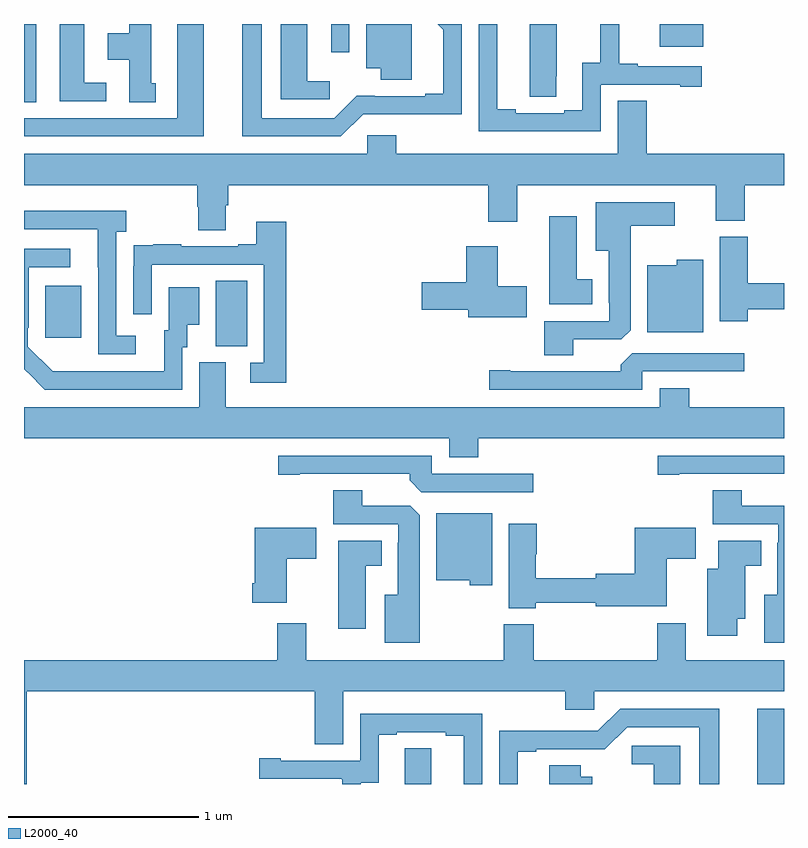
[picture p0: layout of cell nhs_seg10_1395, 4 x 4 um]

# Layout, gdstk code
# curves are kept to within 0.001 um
import gdstk
lib = gdstk.Library(unit=1e-6, precision=1e-09)
def R(c, l, rs):  # rectangles x0, y0, x1, y1
    for r in rs: c.add(gdstk.rectangle(r[:2], r[2:], *l))
def P(c, l, *ps):  # polygons
    for p in ps: c.add(gdstk.Polygon(p, *l))
L2000_40 = (2000, 40)

nhs_seg10_1395 = lib.new_cell('nhs_seg10_1395')
R(nhs_seg10_1395, L2000_40, [(186.86,1294.5,187,1294.896), (184.01,1296.805,184.174,1297.148), (183.113,1296.849,183.301,1297.123), (183,1298.089,183.064,1298.5), (184.617,1298.352,184.713,1298.5), (186.347,1298.381,186.574,1298.5)])
P(nhs_seg10_1395, L2000_40, [(186.036,1298.181),(186.455,1298.181),(186.455,1298.169),(186.568,1298.169),(186.568,1298.277),(186.229,1298.277),(186.229,1298.29),(186.134,1298.29),(186.134,1298.5),(186.034,1298.5),(186.034,1298.297),(185.939,1298.297),(185.939,1298.046),(185.843,1298.046),(185.843,1298.031),(185.587,1298.031),(185.587,1298.051),(185.491,1298.051),(185.491,1298.5),(185.394,1298.5),(185.394,1297.935),(186.036,1297.935)],
  [(183.433,1298.19),(183.316,1298.19),(183.316,1298.5),(183.188,1298.5),(183.188,1298.094),(183.433,1298.094)],
  [(184.609,1298.2),(184.492,1298.2),(184.492,1298.5),(184.352,1298.5),(184.352,1298.103),(184.609,1298.103)],
  [(185.041,1298.5),(184.802,1298.5),(184.802,1298.267),(184.877,1298.267),(184.877,1298.206),(185.041,1298.206)],
  [(185.802,1298.224),(185.803,1298.224),(185.803,1298.5),(185.663,1298.5),(185.663,1298.116),(185.802,1298.116)],
  [(183.946,1298.5),(183.806,1298.5),(183.806,1298.004),(183,1298.004),(183,1297.908),(183.946,1297.908)],
  [(183.694,1298.187),(183.67,1298.187),(183.67,1298.5),(183.554,1298.5),(183.554,1298.452),(183.44,1298.452),(183.44,1298.312),(183.554,1298.312),(183.554,1298.089),(183.694,1298.089)],
  [(184.785,1298.025),(185.304,1298.024),(185.304,1298.5),(185.177,1298.5),(185.207,1298.47),(185.207,1298.134),(185.111,1298.134),(185.111,1298.121),(184.75,1298.122),(184.632,1298.004),(184.252,1298.004),(184.252,1298.5),(184.148,1298.5),(184.148,1297.908),(184.668,1297.908)],
  [(186.278,1298.096),(186.125,1298.096),(186.125,1297.816),(184.958,1297.816),(184.958,1297.914),(184.806,1297.914),(184.806,1297.816),(183,1297.816),(183,1297.652),(183.911,1297.652),(183.911,1297.539),(183.916,1297.539),(183.916,1297.414),(184.063,1297.414),(184.063,1297.546),(184.076,1297.546),(184.076,1297.652),(185.444,1297.652),(185.444,1297.458),(185.596,1297.458),(185.596,1297.652),(186.641,1297.652),(186.641,1297.465),(186.794,1297.465),(186.794,1297.652),(187,1297.652),(187,1297.816),(186.278,1297.816)],
  [(185.89,1296.84),(186.144,1296.84),(186.193,1296.889),(186.193,1297.439),(186.424,1297.439),(186.424,1297.561),(186.008,1297.561),(186.008,1297.307),(186.077,1297.307),(186.077,1297.033),(186.081,1297.033),(186.081,1296.936),(185.738,1296.936),(185.738,1296.757),(185.89,1296.757)],
  [(183.589,1296.858),(183.486,1296.858),(183.486,1297.406),(183.538,1297.406),(183.538,1297.516),(183,1297.516),(183,1297.419),(183.389,1297.419),(183.389,1297.219),(183.39,1297.219),(183.39,1296.762),(183.589,1296.762)],
  [(185.992,1297.156),(185.908,1297.156),(185.908,1297.489),(185.765,1297.489),(185.765,1297.025),(185.992,1297.025)],
  [(184.379,1297.459),(184.223,1297.459),(184.223,1297.342),(184.127,1297.342),(184.127,1297.329),(183.827,1297.329),(183.827,1297.342),(183.679,1297.342),(183.679,1297.335),(183.577,1297.335),(183.577,1297.226),(183.576,1297.226),(183.576,1296.972),(183.672,1296.972),(183.672,1297.233),(184.263,1297.233),(184.263,1296.717),(184.191,1296.717),(184.191,1296.612),(184.379,1296.612)],
  [(186.809,1297),(187,1297),(187,1297.136),(186.809,1297.136),(186.809,1297.38),(186.662,1297.38),(186.662,1296.936),(186.809,1296.936)],
  [(185.647,1297.119),(185.494,1297.119),(185.494,1297.33),(185.327,1297.33),(185.327,1297.142),(185.094,1297.142),(185.094,1296.995),(185.339,1296.995),(185.339,1296.956),(185.647,1296.956)],
  [(183.834,1296.798),(183.859,1296.798),(183.859,1296.917),(183.922,1296.917),(183.922,1297.114),(183.761,1297.114),(183.761,1296.888),(183.737,1296.888),(183.737,1296.672),(183.15,1296.673),(183.021,1296.801),(183.021,1296.901),(183.024,1296.901),(183.024,1297.221),(183.244,1297.221),(183.244,1297.317),(183,1297.317),(183,1296.684),(183.018,1296.666),(183.019,1296.667),(183.11,1296.576),(183.834,1296.576)],
  [(186.574,1297.258),(186.435,1297.258),(186.435,1297.231),(186.281,1297.231),(186.281,1296.878),(186.574,1296.878)],
  [(186.255,1296.672),(186.79,1296.672),(186.79,1296.768),(186.201,1296.768),(186.14,1296.706),(186.14,1296.672),(185.56,1296.672),(185.56,1296.677),(185.448,1296.677),(185.448,1296.576),(186.255,1296.576)],
  [(185.39,1296.32),(187,1296.32),(187,1296.484),(186.5,1296.484),(186.5,1296.583),(186.347,1296.583),(186.347,1296.484),(184.063,1296.484),(184.063,1296.72),(183.923,1296.72),(183.923,1296.484),(183,1296.484),(183,1296.32),(185.237,1296.32),(185.237,1296.221),(185.39,1296.221)],
  [(186.448,1296.132),(187,1296.132),(187,1296.228),(186.336,1296.228),(186.336,1296.127),(186.448,1296.127)],
  [(185.68,1296.132),(185.145,1296.132),(185.145,1296.228),(184.338,1296.228),(184.338,1296.127),(184.45,1296.127),(184.45,1296.132),(185.03,1296.132),(185.03,1296.098),(185.091,1296.036),(185.68,1296.036)],
  [(187,1295.964),(186.778,1295.964),(186.778,1296.047),(186.626,1296.047),(186.626,1295.868),(186.969,1295.868),(186.969,1295.771),(186.965,1295.771),(186.965,1295.497),(186.896,1295.497),(186.896,1295.243),(187,1295.243)],
  [(185.083,1295.915),(185.034,1295.964),(184.78,1295.964),(184.78,1296.047),(184.628,1296.047),(184.628,1295.868),(184.971,1295.868),(184.971,1295.771),(184.967,1295.771),(184.967,1295.497),(184.898,1295.497),(184.898,1295.243),(185.083,1295.243)],
  [(185.464,1295.926),(185.171,1295.926),(185.171,1295.573),(185.346,1295.573),(185.346,1295.546),(185.464,1295.546)],
  [(185.694,1295.454),(186.008,1295.454),(186.008,1295.435),(186.382,1295.435),(186.382,1295.686),(186.535,1295.686),(186.535,1295.848),(186.215,1295.848),(186.215,1295.606),(186.008,1295.606),(186.008,1295.582),(185.694,1295.582),(185.694,1295.708),(185.699,1295.708),(185.699,1295.869),(185.552,1295.869),(185.552,1295.426),(185.694,1295.426)],
  [(184.384,1295.686),(184.537,1295.686),(184.537,1295.848),(184.214,1295.848),(184.214,1295.557),(184.202,1295.557),(184.202,1295.453),(184.384,1295.453)],
  [(186.754,1295.369),(186.796,1295.369),(186.796,1295.648),(186.88,1295.648),(186.88,1295.779),(186.653,1295.779),(186.653,1295.632),(186.596,1295.632),(186.596,1295.28),(186.754,1295.28)],
  [(184.798,1295.648),(184.882,1295.648),(184.882,1295.779),(184.655,1295.779),(184.655,1295.316),(184.798,1295.316)],
  [(183.014,1294.988),(184.529,1294.988),(184.529,1294.708),(184.681,1294.708),(184.681,1294.988),(185.849,1294.988),(185.849,1294.89),(186,1294.89),(186,1294.988),(187,1294.988),(187,1295.152),(186.484,1295.152),(186.484,1295.347),(186.332,1295.347),(186.332,1295.152),(185.684,1295.152),(185.684,1295.341),(185.524,1295.341),(185.524,1295.152),(184.486,1295.152),(184.486,1295.347),(184.334,1295.347),(184.334,1295.152),(183,1295.152),(183,1294.5),(183.014,1294.5)],
  [(185.599,1294.671),(185.695,1294.671),(185.695,1294.683),(186.056,1294.682),(186.174,1294.8),(186.554,1294.8),(186.554,1294.5),(186.658,1294.5),(186.658,1294.896),(186.138,1294.896),(186.021,1294.779),(185.765,1294.779),(185.765,1294.781),(185.502,1294.781),(185.502,1294.5),(185.599,1294.5)],
  [(184.773,1294.507),(184.867,1294.507),(184.867,1294.758),(184.963,1294.758),(184.963,1294.773),(185.219,1294.773),(185.219,1294.753),(185.315,1294.753),(185.315,1294.5),(185.412,1294.5),(185.412,1294.869),(184.77,1294.869),(184.77,1294.623),(184.351,1294.623),(184.351,1294.636),(184.239,1294.636),(184.239,1294.527),(184.673,1294.527),(184.673,1294.526),(184.674,1294.526),(184.674,1294.5),(184.773,1294.5)],
  [(186.454,1294.701),(186.198,1294.701),(186.198,1294.604),(186.314,1294.604),(186.314,1294.5),(186.454,1294.5)],
  [(185.143,1294.688),(185.004,1294.688),(185.004,1294.58),(185.003,1294.58),(185.003,1294.5),(185.143,1294.5)],
  [(185.992,1294.537),(185.929,1294.537),(185.929,1294.598),(185.765,1294.598),(185.765,1294.5),(185.992,1294.5)])

lib.write_gds('nhs_seg10_1395.gds')
